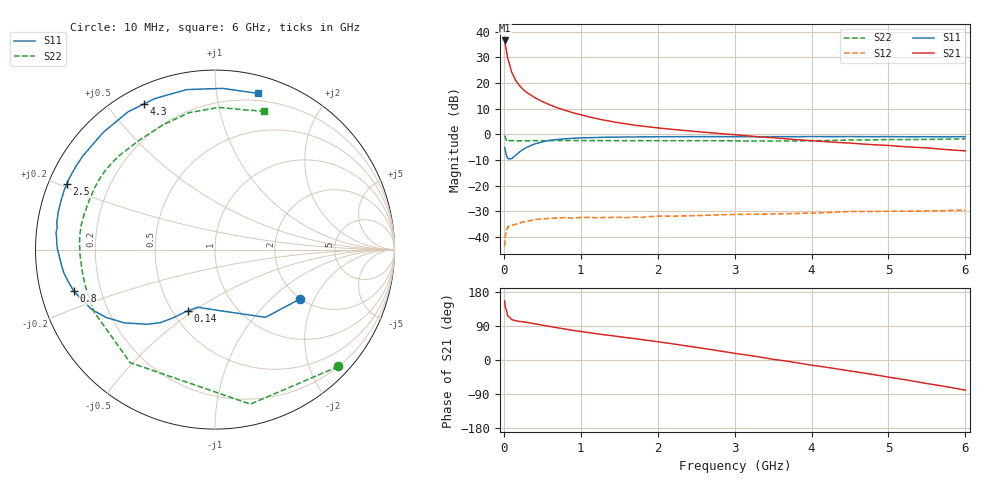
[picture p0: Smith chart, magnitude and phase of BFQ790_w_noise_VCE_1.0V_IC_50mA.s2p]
! Infineon Technologies  Discrete & RF Semiconductors
! BFQ790
! VCE =  1.0 V,  IC =  50 mA
! Common Emitter S-Parameters:  May 2015
# GHz  S  MA  R  50
!  f  S11  S21  S12  S22
! GHz  MAG  ANG  MAG  ANG  MAG  ANG  MAG  ANG
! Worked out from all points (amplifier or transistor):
!   77 points, 10 MHz to 6 GHz, reference 50 ohm
!   highest |S21| = 36.6 dB at 10 MHz (marker M1)
!   |S21| within 3 dB of that: start of sweep to 28.17 MHz
!   unconditionally stable (mu >= 1): 1.407 GHz to end of sweep
!   at 130 MHz: K = 0.70, MSG = 29.0 dB, |S12| = -35.3 dB
!   at 2.2 GHz: K = 1.15, MAG = 14.6 dB, |S12| = -31.9 dB
!   at 6 GHz: K = 1.68, MAG = 6.7 dB, |S12| = -29.5 dB
!   lowest NFmin = 2.29 dB at 900 MHz
!   S11 on the Smith chart (normalised r, x): 10 MHz: 2.00, -1.57; 140 MHz: 0.60, -0.47; 800 MHz: 0.10, -0.14; 2.5 GHz: 0.05, +0.21; 4.3 GHz: 0.07, +0.62; 6 GHz: 0.14, +1.31
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0.01  0.5492 -29.9  67.74 156.2  0.0066 65.3  0.946 -43.5
0.02  0.4707 -53.3  55.45 138.4  0.0106 51.0  0.8833 -77.1
0.05  0.3389 -87.4  30.16 116.0  0.0158 26.5  0.7875 -126.9
0.1  0.3352 -106.7  16.48 106.5  0.0167 16.0  0.7577 -152.7
0.14  0.3745 -114.0  12.52 104.5  0.0174 17.0  0.7505 -160.5
0.15  0.3851 -115.6  11.54 103.8  0.0176 17.2  0.7509 -162.5
0.2  0.4482 -121.7  9.051 102.0  0.0185 17.0  0.7496 -167.9
0.25  0.5081 -126.8  7.542 100.7  0.0196 14.5  0.7491 -171.3
0.3  0.5608 -132.1  6.504 99.1  0.0201 12.0  0.7497 -174.0
0.4  0.6492 -141.0  5.212 95.6  0.0218 10.8  0.7526 -178.0
0.5  0.714 -148.0  4.353 92.0  0.0224 7.3  0.7536 179.1
0.7  0.7915 -159.4  3.279 84.9  0.0233 6.1  0.7568 174.6
0.8  0.8206 -163.7  2.933 81.6  0.0239 2.1  0.7573 172.9
1.1  0.8603 -174.6  2.204 72.4  0.024 -1.0  0.7565 168.1
1.5  0.8842 175.9  1.678 61.6  0.0241 -5.0  0.7522 162.7
2.1  0.8987 164.6  1.29 45.4  0.0254 -10.6  0.7524 154.1
2.5  0.9028 156.2  1.135 33.5  0.026 -14.8  0.7533 146.8
3.1  0.9 142.6  0.954 14.8  0.0275 -22.2  0.7444 133.6
4.1  0.9048 120.2  0.734 -16.5  0.0295 -33.9  0.755 110.2
4.3  0.9029 115.9  0.701 -22.5  0.0304 -36.7  0.7631 105.4
5.1  0.9006 97.5  0.591 -48.3  0.0316 -49.7  0.791 86.4
6  0.903 74.5  0.477 -79.6  0.0334 -65.6  0.8171 70.6
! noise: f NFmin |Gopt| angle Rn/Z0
0.45  2.98  0.32  115  0.35
0.9  2.29  0.47  157  0.14
1.5  2.29  0.63  -179  0.07
1.8  2.5  0.66  -173  0.07
2.6  3.16  0.72  -155  0.19
3.5  3.95  0.82  -137  0.51
